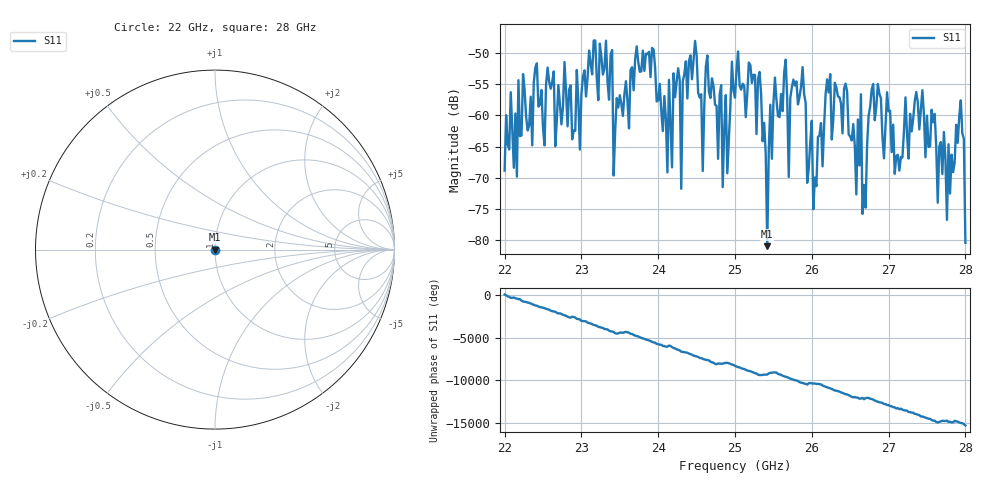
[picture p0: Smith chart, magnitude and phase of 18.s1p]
#  HZ  S  RI  R  50.00
! Rohde & Schwarz ZVA40 4Ports - Version 3.90 - 1145.1110k42 SN: 100403
! Date: 2023-10-04 07:02:24
! Measurement: S12
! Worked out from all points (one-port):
!   301 points, 22 GHz to 28 GHz, reference 50 ohm
!   lowest |S11| = -80.9 dB at 25.42 GHz (marker M1), VSWR 1.00, Z = 50 + j0.00461 ohm
!   |S11| at or under -10 dB: start of sweep to end of sweep
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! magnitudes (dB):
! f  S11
! 22 GHz  -68.8
! 22.76 GHz  -58.6
! 23.5 GHz  -56.8
! 23.94 GHz  -49.5
! 24.12 GHz  -69.1
! 24.26 GHz  -52.5
! 24.3 GHz  -71.7
! 24.32 GHz  -54.6
! 24.48 GHz  -48.1
! 24.58 GHz  -68.9
! 24.64 GHz  -50.4
! 24.82 GHz  -55.2
! 24.84 GHz  -71.5
! 25 GHz  -57.2
! 25.32 GHz  -53.1
! 25.42 GHz  -80.9
! 25.46 GHz  -58.3
! 25.66 GHz  -51.1
! 25.7 GHz  -69.9
! 25.76 GHz  -54.3
! 26.02 GHz  -75.0
! 26.2 GHz  -54.3
! 26.5 GHz  -63.4
! 27.26 GHz  -66.9
! 27.44 GHz  -56.0
! 27.76 GHz  -76.7
! 27.94 GHz  -57.6
! 28 GHz  -80.4
